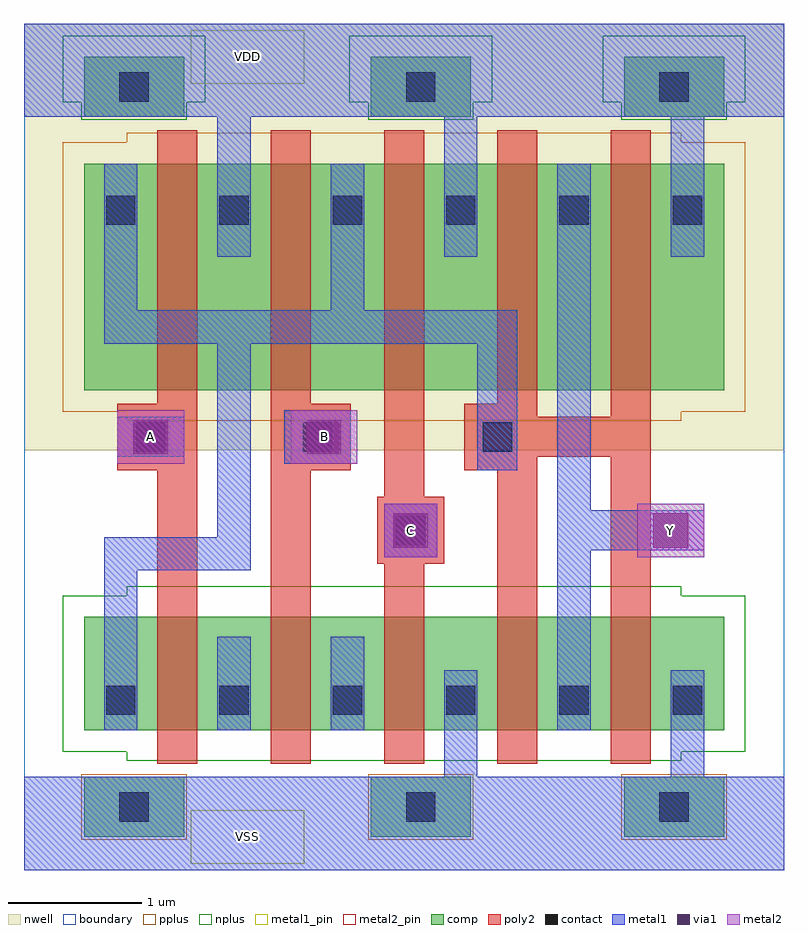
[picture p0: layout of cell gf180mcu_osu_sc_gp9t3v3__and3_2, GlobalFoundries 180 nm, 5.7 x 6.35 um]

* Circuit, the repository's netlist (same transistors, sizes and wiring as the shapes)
** sch_path: /foss/designs/work/xschem/gf180mcu_osu_sc_gp9t3v3__and3_2.sch
.subckt gf180mcu_osu_sc_gp9t3v3__and3_2 A B Y C VDD VDD VDD VDD VSS VSS
*.PININFO A:I B:I Y:O C:I VDD:B VDD:B VDD:B VDD:B VSS:B VSS:B
X1 net1 A VDD VDD pfet_03v3 w=1.7u l=0.3u m=1
X0 net1 B VDD VDD pfet_03v3 w=1.7u l=0.3u m=1
X2 net1 A net2 VSS nfet_03v3 w=0.85u l=0.3u m=1
X3 net2 B net3 VSS nfet_03v3 w=0.85u l=0.3u m=1
X4 Y net1 VDD VDD pfet_03v3 w=1.7u l=0.3u m=2
X5 Y net1 VSS VSS nfet_03v3 w=0.85u l=0.3u m=2
X6 net1 C VDD VDD pfet_03v3 w=1.7u l=0.3u m=1
X7 net3 C VSS VSS nfet_03v3 w=0.85u l=0.3u m=1
.ends

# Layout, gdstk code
import gdstk
lib = gdstk.Library(unit=1e-6, precision=1e-09)
def R(c, l, rs):  # rectangles x0, y0, x1, y1
    for r in rs: c.add(gdstk.rectangle(r[:2], r[2:], *l))
def A(c, l, x, y, w, h, nx, ny, dx, dy):  # array of equal rectangles
    R(c, l, [(x+i*dx, y+j*dy, x+i*dx+w, y+j*dy+h) for i in range(nx) for j in range(ny)])
boundary = (0, 0)
nwell = (21, 0)
comp = (22, 0)
poly2 = (30, 0)
pplus = (31, 0)
nplus = (32, 0)
contact = (33, 0)
metal1 = (34, 0)
metal1_pin = (34, 10)
via1 = (35, 0)
metal2 = (36, 0)
metal2_pin = (36, 10)

gf180mcu_osu_sc_gp9t3v3_ = lib.new_cell('gf180mcu_osu_sc_gp9t3v3__and3_2')
R(gf180mcu_osu_sc_gp9t3v3_, boundary, [(-0.9,0,4.8,6.35)])
R(gf180mcu_osu_sc_gp9t3v3_, nwell, [(-0.9,3.15,4.8,6.35)])
R(gf180mcu_osu_sc_gp9t3v3_, comp, [(-0.45,0.25,0.3,0.7), (1.7,0.25,2.45,0.7), (3.6,0.25,4.35,0.7), (-0.45,1.05,4.35,1.9), (-0.45,3.6,4.35,5.3), (-0.45,5.65,0.3,6.1), (1.7,5.65,2.45,6.1), (3.6,5.65,4.35,6.1)])
R(gf180mcu_osu_sc_gp9t3v3_, poly2, [(0.1,0.8,0.4,3), (0.95,0.8,1.25,3), (1.8,0.8,2.1,2.3), (2.65,0.8,2.95,3), (3.5,0.8,3.8,3.1), (1.75,2.3,2.25,2.8), (1.8,2.8,2.1,5.55), (-0.2,3,0.4,3.5), (0.95,3,1.55,3.5), (2.4,3,2.95,3.1), (2.4,3.1,3.8,3.4), (2.4,3.4,2.95,3.5), (3.5,3.4,3.8,5.55), (0.1,3.5,0.4,5.55), (0.95,3.5,1.25,5.55), (2.65,3.5,2.95,5.55)])
R(gf180mcu_osu_sc_gp9t3v3_, pplus, [(-0.47,0.23,0.32,0.72), (1.68,0.23,2.47,0.72), (3.58,0.23,4.37,0.72), (-0.13,3.37,4.03,3.44), (-0.61,3.44,4.51,5.46), (-0.13,5.46,4.03,5.53)])
R(gf180mcu_osu_sc_gp9t3v3_, nplus, [(-0.13,0.82,4.03,0.89), (-0.61,0.89,4.51,2.06), (-0.13,2.06,4.03,2.13), (-0.47,5.63,0.32,5.76), (1.68,5.63,2.47,5.76), (3.58,5.63,4.37,5.76), (-0.61,5.76,0.46,6.26), (1.54,5.76,2.61,6.26), (3.44,5.76,4.51,6.26)])
A(gf180mcu_osu_sc_gp9t3v3_, contact, -0.285, 1.165, 0.22, 0.22, 6, 2, 0.85, 3.675)
R(gf180mcu_osu_sc_gp9t3v3_, contact, [(-0.185,0.365,0.035,0.585), (1.965,0.365,2.185,0.585), (3.865,0.365,4.085,0.585), (1.89,2.44,2.11,2.66), (-0.06,3.14,0.16,3.36), (1.19,3.14,1.41,3.36), (2.54,3.14,2.76,3.36), (-0.185,5.765,0.035,5.985), (1.965,5.765,2.185,5.985), (3.865,5.765,4.085,5.985)])
A(gf180mcu_osu_sc_gp9t3v3_, metal1, 0.55, 4.6, 0.25, 1.05, 3, 1, 1.7, 0)
R(gf180mcu_osu_sc_gp9t3v3_, metal1, [(-0.9,0,4.8,0.7), (2.25,0.7,2.5,1.5), (3.95,0.7,4.2,1.5), (-0.3,1.05,-0.05,2.25), (0.55,1.05,0.8,1.75), (1.4,1.05,1.65,1.75), (3.1,1.05,3.35,2.4), (-0.3,2.25,0.8,2.5), (1.8,2.35,2.2,2.75), (3.1,2.4,4.2,2.7), (0.55,2.5,0.8,3.95), (3.1,2.7,3.35,5.3), (2.5,3,2.8,3.95), (1.05,3.05,1.55,3.45), (-0.2,3.1,0.3,3.4), (-0.3,3.95,2.8,4.2), (-0.3,4.2,-0.05,5.3), (1.4,4.2,1.65,5.3), (-0.9,5.65,4.8,6.35)])
R(gf180mcu_osu_sc_gp9t3v3_, metal1_pin, [(0.35,0.05,1.2,0.45), (0.35,5.9,1.2,6.3)])
R(gf180mcu_osu_sc_gp9t3v3_, via1, [(1.87,2.42,2.13,2.68), (3.82,2.42,4.08,2.68), (-0.08,3.12,0.18,3.38), (1.22,3.12,1.48,3.38)])
R(gf180mcu_osu_sc_gp9t3v3_, metal2, [(1.8,2.35,2.2,2.75), (3.7,2.35,4.2,2.75), (-0.2,3.05,0.3,3.45), (1.1,3.05,1.6,3.45)])
R(gf180mcu_osu_sc_gp9t3v3_, metal2_pin, [(1.8,2.35,2.2,2.75), (3.7,2.35,4.2,2.75), (-0.2,3.05,0.3,3.45), (1.1,3.05,1.6,3.45)])
gf180mcu_osu_sc_gp9t3v3_.add(gdstk.Label('A', (0.05,3.25), layer=36, texttype=10))
gf180mcu_osu_sc_gp9t3v3_.add(gdstk.Label('B', (1.35,3.25), layer=36, texttype=10))
gf180mcu_osu_sc_gp9t3v3_.add(gdstk.Label('Y', (3.95,2.55), layer=36, texttype=10))
gf180mcu_osu_sc_gp9t3v3_.add(gdstk.Label('C', (2,2.55), layer=36, texttype=10))
gf180mcu_osu_sc_gp9t3v3_.add(gdstk.Label('VDD', (0.775,6.1), layer=34, texttype=10))
gf180mcu_osu_sc_gp9t3v3_.add(gdstk.Label('VSS', (0.775,0.25), layer=34, texttype=10))

lib.write_gds('gf180mcu_osu_sc_gp9t3v3__and3_2.gds')
